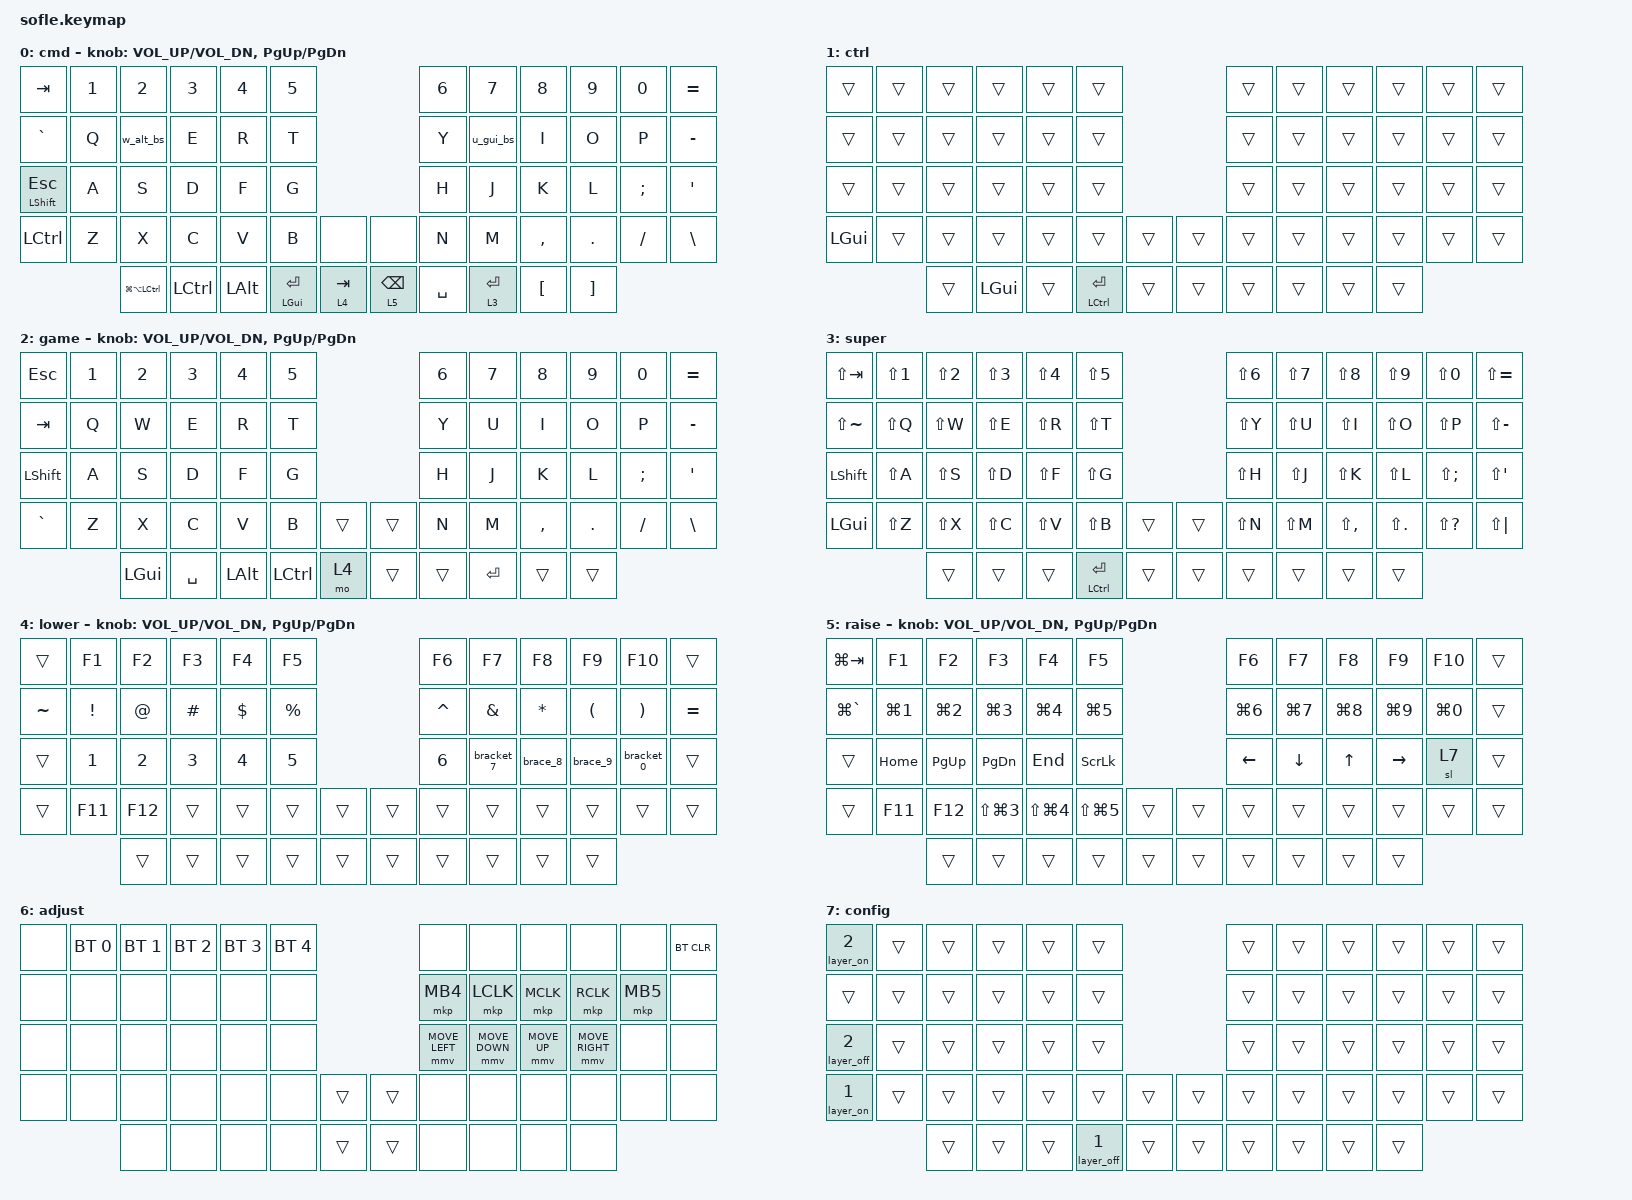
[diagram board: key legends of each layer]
/*
 * Copyright (c) 2020 The ZMK Contributors
 *
 * SPDX-License-Identifier: MIT
 */

#include <behaviors.dtsi>
#include <dt-bindings/zmk/bt.h>
#include <dt-bindings/zmk/keys.h>
#include <dt-bindings/zmk/pointing.h>

#define BASE 0
#define LOWER 1
#define RAISE 2
#define ADJUST 3

&lt { flavor = "hold-preferred"; };

&sl {
    bindings = <&mo>;
    release-after-ms = <200>;
};

/ {
    // Activate ADJUST layer by pressing raise and lower

    conditional_layers {
        compatible = "zmk,conditional-layers";

        adjust_layer {
            if-layers = <4 5>;
            then-layer = <6>;
        };
    };

    behaviors {
        shift_0: shift_0 {
            compatible = "zmk,behavior-mod-morph";
            label = "SHIFT_0";
            bindings = <&kp N0>, <&kp COLON>;

            #binding-cells = <0>;
            mods = <(MOD_LSFT|MOD_RSFT)>;
        };

        layer_on: layer_on {
            compatible = "zmk,behavior-toggle-layer";
            label = "LAYER_ON";
            #binding-cells = <1>;
            toggle-mode = "on";
        };

        layer_off: layer_off {
            compatible = "zmk,behavior-toggle-layer";
            label = "LAYER_OFF";
            #binding-cells = <1>;
            toggle-mode = "off";
        };

        bracket_7: bracket_7 {
            compatible = "zmk,behavior-mod-morph";
            label = "BRACKET_7";
            bindings = <&kp N7>, <&kp LEFT_BRACKET>;

            #binding-cells = <0>;
            mods = <(MOD_LSFT)>;
        };

        brace_8: brace_8 {
            compatible = "zmk,behavior-mod-morph";
            label = "BRACE_8";
            bindings = <&kp N8>, <&kp LEFT_BRACE>;

            #binding-cells = <0>;
            mods = <(MOD_LSFT)>;
        };

        brace_9: brace_9 {
            compatible = "zmk,behavior-mod-morph";
            label = "BRACE_9";
            bindings = <&kp N9>, <&kp RIGHT_BRACE>;

            #binding-cells = <0>;
            mods = <(MOD_LSFT)>;
        };

        bracket_0: bracket_0 {
            compatible = "zmk,behavior-mod-morph";
            label = "BRACKET_0";
            bindings = <&kp N0>, <&kp RIGHT_BRACKET>;

            #binding-cells = <0>;
            mods = <(MOD_LSFT)>;
        };

        w_alt_bs: w_alt_bs {
            compatible = "zmk,behavior-mod-morph";
            label = "W_ALT_BS";
            bindings = <&kp W>, <&kp LA(BACKSPACE)>;

            #binding-cells = <0>;
            mods = <(MOD_LGUI)>;
        };

        u_gui_bs: u_gui_bs {
            compatible = "zmk,behavior-mod-morph";
            label = "U_GUI_BS";
            bindings = <&kp U>, <&kp LG(BACKSPACE)>;

            #binding-cells = <0>;
            mods = <(MOD_LGUI)>;
        };
    };

    keymap {
        compatible = "zmk,keymap";

        default_layer {
            display-name = "cmd";

            // ------------------------------------------------------------------------------------------------------------
            // |   `   |  1  |  2  |  3   |  4   |  5   |                   |  6   |  7    |  8    |  9   |   0   |  F5   |
            // |  ESC  |  Q  |  W  |  E   |  R   |  T   |                   |  Y   |  U    |  I    |  O   |   P   | BKSPC |
            // |  TAB  |  A  |  S  |  D   |  F   |  G   |                   |  H   |  J    |  K    |  L   |   ;   |   '   |
            // | SHIFT |  Z  |  X  |  C   |  V   |  B   |  MUTE  |  |       |  N   |  M    |  ,    |  .   |   /   | SHIFT |
            //               | GUI | ALT  | CTRL | LOWER|  ENTER |  | SPACE | RAISE| CTRL  | ALT   | GUI  |

            bindings = <
&kp TAB                &kp N1  &kp N2             &kp N3            &kp N4        &kp N5                                            &kp N6     &kp N7       &kp N8            &kp N9             &kp N0    &kp EQUAL
&kp GRAVE              &kp Q   &w_alt_bs          &kp E             &kp R         &kp T                                             &kp Y      &u_gui_bs    &kp I             &kp O              &kp P     &kp MINUS
&mt LEFT_SHIFT ESCAPE  &kp A   &kp S              &kp D             &kp F         &kp G                                             &kp H      &kp J        &kp K             &kp L              &kp SEMI  &kp SQT
&kp LEFT_CONTROL       &kp Z   &kp X              &kp C             &kp V         &kp B               &none        &none            &kp N      &kp M        &kp COMMA         &kp DOT            &kp FSLH  &kp BACKSLASH
                               &kp LG(LA(LCTRL))  &kp LEFT_CONTROL  &kp LEFT_ALT  &mt LEFT_GUI ENTER  &lt 4 TAB    &lt 5 BACKSPACE  &kp SPACE  &lt 3 ENTER  &kp LEFT_BRACKET  &kp RIGHT_BRACKET
            >;

            sensor-bindings =
                <&inc_dec_kp C_VOL_UP C_VOL_DN>,
                <&inc_dec_kp PAGE_UP PAGE_DOWN>;

            label = "gui";
        };

        ctrl_layer {
            bindings = <
&trans        &trans  &trans  &trans        &trans  &trans                                    &trans  &trans  &trans  &trans  &trans  &trans
&trans        &trans  &trans  &trans        &trans  &trans                                    &trans  &trans  &trans  &trans  &trans  &trans
&trans        &trans  &trans  &trans        &trans  &trans                                    &trans  &trans  &trans  &trans  &trans  &trans
&kp LEFT_GUI  &trans  &trans  &trans        &trans  &trans                  &trans    &trans  &trans  &trans  &trans  &trans  &trans  &trans
                      &trans  &kp LEFT_GUI  &trans  &mt LEFT_CONTROL ENTER  &trans    &trans  &trans  &trans  &trans  &trans
            >;

            label = "ctrl";
        };

        game_layer {
            display-name = "game";
            bindings = <
&kp ESCAPE      &kp N1  &kp N2        &kp N3     &kp N4        &kp N5                              &kp N6  &kp N7     &kp N8     &kp N9   &kp N0    &kp EQUAL
&kp TAB         &kp Q   &kp W         &kp E      &kp R         &kp T                               &kp Y   &kp U      &kp I      &kp O    &kp P     &kp MINUS
&kp LEFT_SHIFT  &kp A   &kp S         &kp D      &kp F         &kp G                               &kp H   &kp J      &kp K      &kp L    &kp SEMI  &kp SQT
&kp GRAVE       &kp Z   &kp X         &kp C      &kp V         &kp B             &trans    &trans  &kp N   &kp M      &kp COMMA  &kp DOT  &kp FSLH  &kp BACKSLASH
                        &kp LEFT_GUI  &kp SPACE  &kp LEFT_ALT  &kp LEFT_CONTROL  &mo 4     &trans  &trans  &kp ENTER  &trans     &trans
            >;

            sensor-bindings =
                <&inc_dec_kp C_VOL_UP C_VOL_DN>,
                <&inc_dec_kp PAGE_UP PAGE_DOWN>;
        };

        super_layer {
            bindings = <
&kp LS(TAB)    &kp LS(NUMBER_1)  &kp LS(NUMBER_2)  &kp LS(NUMBER_3)  &kp LS(NUMBER_4)  &kp LS(N5)                                &kp LS(NUMBER_6)  &kp LS(N7)  &kp LS(N8)     &kp LS(N9)      &kp LS(N0)         &kp LS(EQUAL)
&kp LS(TILDE)  &kp LS(Q)         &kp LS(W)         &kp LS(E)         &kp LS(R)         &kp LS(T)                                 &kp LS(Y)         &kp LS(U)   &kp LS(I)      &kp LS(O)       &kp LS(P)          &kp LS(MINUS)
&kp LSHFT      &kp LS(A)         &kp LS(S)         &kp LS(D)         &kp LS(F)         &kp LS(G)                                 &kp LS(H)         &kp LS(J)   &kp LS(K)      &kp LS(L)       &kp LS(SEMICOLON)  &kp LS(SQT)
&kp LEFT_GUI   &kp LS(Z)         &kp LS(X)         &kp LS(C)         &kp LS(V)         &kp LS(B)               &trans    &trans  &kp LS(N)         &kp LS(M)   &kp LS(COMMA)  &kp LS(PERIOD)  &kp LS(QMARK)      &kp LS(PIPE)
                                 &trans            &trans            &trans            &mt LEFT_CONTROL ENTER  &trans    &trans  &trans            &trans      &trans         &trans
            >;

            label = "super";
        };

        lower_layer {
            display-name = "lower";

            // TODO: Some binds are waiting for shifted keycode support.
            // ------------------------------------------------------------------------------------------------------------
            // |       |  F1 |  F2 |  F3  |  F4  |  F5  |                   |  F6  |  F7   |  F8   |  F9  |  F10  |  F11  |
            // |   `   |  1  |  2  |  3   |  4   |  5   |                   |  6   |  7    |  8    |  9   |   0   |  F12  |
            // |       |  !  |  @  |  #   |  $   |  %   |                   |  ^   |  &    |  *    |  (   |   )   |   |   |
            // |       |  =  |  -  |  +   |  {   |  }   |        |  |       |  [   |  ]    |  ;    |  :   |   \   |       |
            //               |     |      |      |      |        |  |       |      |       |       |      |

            bindings = <
&trans     &kp F1           &kp F2        &kp F3        &kp F4        &kp F5                          &kp F6        &kp F7         &kp F8        &kp F9                &kp F10                &trans
&kp TILDE  &kp EXCLAMATION  &kp AT_SIGN   &kp HASH      &kp DOLLAR    &kp PERCENT                     &kp CARET     &kp AMPERSAND  &kp ASTERISK  &kp LEFT_PARENTHESIS  &kp RIGHT_PARENTHESIS  &kp EQUAL
&trans     &kp NUMBER_1     &kp NUMBER_2  &kp NUMBER_3  &kp NUMBER_4  &kp NUMBER_5                    &kp NUMBER_6  &bracket_7     &brace_8      &brace_9              &bracket_0             &trans
&trans     &kp F11          &kp F12       &trans        &trans        &trans        &trans    &trans  &trans        &trans         &trans        &trans                &trans                 &trans
                            &trans        &trans        &trans        &trans        &trans    &trans  &trans        &trans         &trans        &trans
            >;

            sensor-bindings = <&inc_dec_kp C_VOL_UP C_VOL_DN &inc_dec_kp PG_UP PG_DN>;
        };

        raise_layer {
            display-name = "raise";

            // ------------------------------------------------------------------------------------------------------------
            // | BTCLR | BT1  | BT2  |  BT3  |  BT4  |  BT5 |                |      |      |       |      |       |       |
            // |       | INS  | PSCR | GUI   |       |      |                | PGUP |      |   ^   |      |       |       |
            // |       | ALT  | CTRL | SHIFT |       | CAPS |                | PGDN |   <- |   v   |  ->  |  DEL  | BKSPC |
            // |       | UNDO | CUT  | COPY  | PASTE |      |      |  |      |      |      |       |      |       |       |
            //                |      |       |       |      |      |  |      |      |      |       |      |

            bindings = <
&kp LG(TAB)    &kp F1            &kp F2            &kp F3                &kp F4                &kp F5                                  &kp F6            &kp F7            &kp F8            &kp F9            &kp F10     &trans
&kp LG(GRAVE)  &kp LG(NUMBER_1)  &kp LG(NUMBER_2)  &kp LG(NUMBER_3)      &kp LG(NUMBER_4)      &kp LG(NUMBER_5)                        &kp LG(NUMBER_6)  &kp LG(NUMBER_7)  &kp LG(NUMBER_8)  &kp LG(NUMBER_9)  &kp LG(N0)  &trans
&trans         &kp HOME          &kp PAGE_UP       &kp PAGE_DOWN         &kp END               &kp SCROLLLOCK                          &kp LEFT          &kp DOWN          &kp UP_ARROW      &kp RIGHT         &sl 7       &trans
&trans         &kp F11           &kp F12           &kp LS(LG(NUMBER_3))  &kp LS(LG(NUMBER_4))  &kp LS(LG(NUMBER_5))  &trans    &trans  &trans            &trans            &trans            &trans            &trans      &trans
                                 &trans            &trans                &trans                &trans                &trans    &trans  &trans            &trans            &trans            &trans
            >;

            sensor-bindings = <&inc_dec_kp C_VOL_UP C_VOL_DN &inc_dec_kp PG_UP PG_DN>;
        };

        adjust_layer {
            // ----------------------------------------------------------------------------------------------------------------------------
            // | BTCLR  |  BT1    |  BT2    |   BT3   |   BT4   |   BT5   |                  |      |      |       |      |       |       |
            // | EXTPWR | RGB_HUD | RGB_HUI | RGB_SAD | RGB_SAI | RGB_EFF |                  |      |      |       |      |       |       |
            // |        | RGB_BRD | RGB_BRI |         |         |         |                  |      |      |       |      |       |       |
            // |        |         |         |         |         |         | RGB_TOG | |      |      |      |       |      |       |       |
            //                    |         |         |         |         |         | |      |      |      |       |      |

            display-name = "adjust";
            bindings = <
&none  &bt BT_SEL 0  &bt BT_SEL 1  &bt BT_SEL 2  &bt BT_SEL 3  &bt BT_SEL 4                    &none           &none           &none         &none            &none     &bt BT_CLR
&none  &none         &none         &none         &none         &none                           &mkp MB4        &mkp LCLK       &mkp MCLK     &mkp RCLK        &mkp MB5  &none
&none  &none         &none         &none         &none         &none                           &mmv MOVE_LEFT  &mmv MOVE_DOWN  &mmv MOVE_UP  &mmv MOVE_RIGHT  &none     &none
&none  &none         &none         &none         &none         &none         &trans    &trans  &none           &none           &none         &none            &none     &none
                     &none         &none         &none         &none         &trans    &trans  &none           &none           &none         &none
            >;
        };

        config_layer {
            bindings = <
&layer_on 2   &trans  &trans  &trans  &trans  &trans                          &trans  &trans  &trans  &trans  &trans  &trans
&trans        &trans  &trans  &trans  &trans  &trans                          &trans  &trans  &trans  &trans  &trans  &trans
&layer_off 2  &trans  &trans  &trans  &trans  &trans                          &trans  &trans  &trans  &trans  &trans  &trans
&layer_on 1   &trans  &trans  &trans  &trans  &trans        &trans    &trans  &trans  &trans  &trans  &trans  &trans  &trans
                      &trans  &trans  &trans  &layer_off 1  &trans    &trans  &trans  &trans  &trans  &trans
            >;

            label = "config";
        };
    };
};
